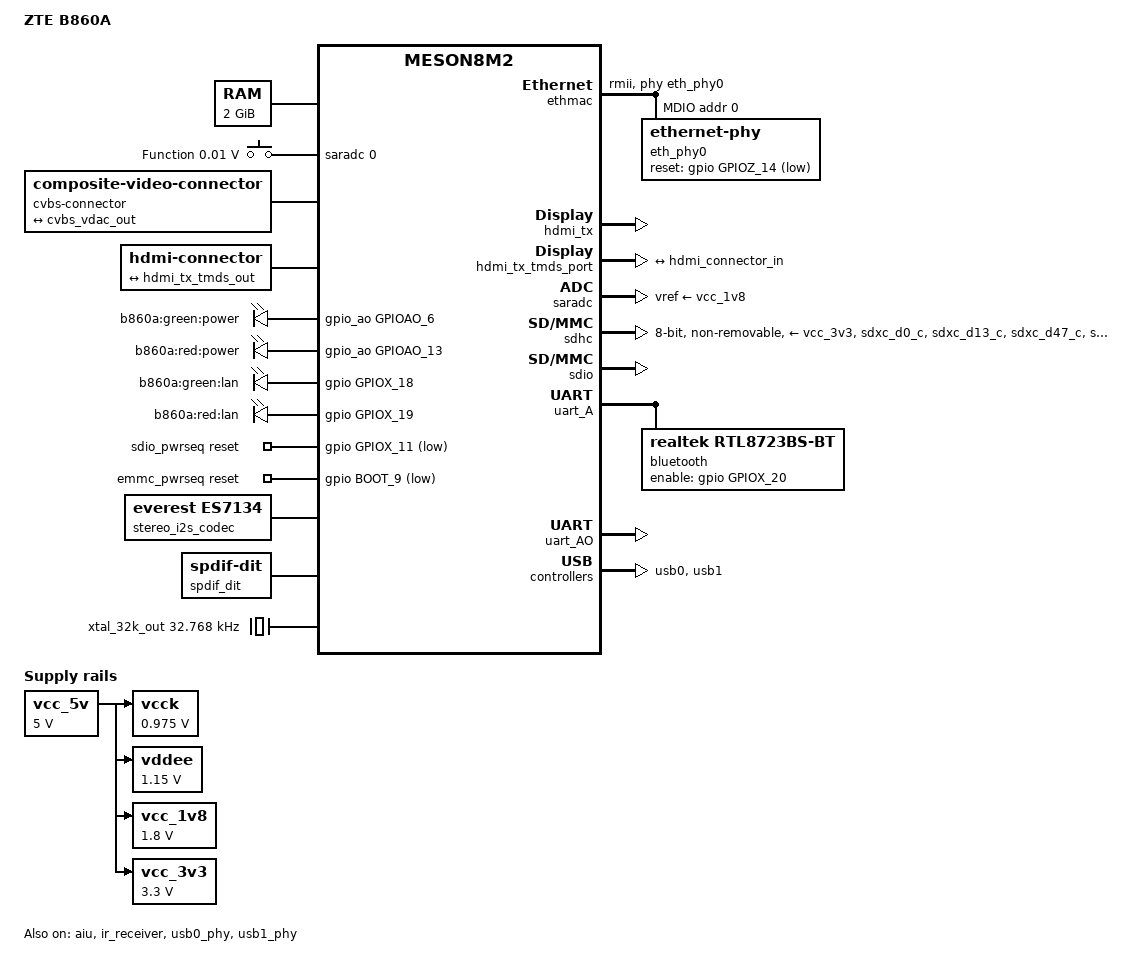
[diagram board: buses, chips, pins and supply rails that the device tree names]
/*
 * Copyright (c) 2026 Jamyu Li <jamyu@163.com>.
 *
 * SPDX-License-Identifier: (GPL-2.0+ OR MIT)
 */

/dts-v1/;

#include "meson8m2.dtsi"

#include <dt-bindings/gpio/gpio.h>
#include <dt-bindings/input/input.h>

/ {
	model = "ZTE B860A";
	compatible = "ZTE,B860A", "amlogic,meson8m2";

	aliases {
		ethernet0 = &ethmac;
		serial0 = &uart_AO;
		mmc0 = &sdio_sd_card_slot;
		mmc1 = &sdhc;
	};

	chosen {
		stdout-path = "serial0:115200n8";
	};

	memory@40000000 {
		device_type = "memory";
		reg = <0x40000000 0x80000000>;
	};

	adc-keys {
		compatible = "adc-keys";
		io-channels = <&saradc 0>;
		io-channel-names = "buttons";
		keyup-threshold-microvolt = <1710000>;

		button-function {
			label = "Function";
			linux,code = <KEY_FN>;
			press-threshold-microvolt = <10000>;
		};
	};

	cvbs-connector {
		compatible = "composite-video-connector";

		port {
			cvbs_connector_in: endpoint {
				remote-endpoint = <&cvbs_vdac_out>;
			};
		};
	};

	hdmi-connector {
		compatible = "hdmi-connector";
		type = "a";

		port {
			hdmi_connector_in: endpoint {
				remote-endpoint = <&hdmi_tx_tmds_out>;
			};
		};
	};

//	pwmleds {
//		compatible = "pwm-leds";
//
//		power {
//			label = "b860a:green:power";
//			pwms = <&pwm_ef 1 7812500 0>;
//			max-brightness = <255>;
//			active-low;
//			linux,default-trigger = "default-on";
//		};
//	};

	leds-power {
    		compatible = "gpio-leds";

    		/* 绿灯：进内核常亮，panic 时灭 */
    		power-green {
        		label = "b860a:green:power";
        		gpios = <&gpio_ao GPIOAO_6 GPIO_ACTIVE_HIGH>; /* pins_on=1 → ACTIVE_HIGH */
        		linux,default-trigger = "default-on";
        		linux,panic-indicator;/* panic 时自动写 0 → 绿灯灭 */
    		};
    		
    		/* 红灯：平时灭，panic 时亮 */
    		power-red {
    		label = "b860a:red:power";
    		gpios = <&gpio_ao GPIOAO_13 GPIO_ACTIVE_HIGH>; /* 高电平亮红 */
    		linux,default-trigger = "panic"; /* 仅 panic 时激活 */
    		};
	};
	
	leds-network {
    		compatible = "gpio-leds";
 			pinctrl-0 = <&lan_led_pins>;
			pinctrl-names = "default";

    		/* 绿灯 — 网络数据流 */
    		lan_data {
        		label = "b860a:green:lan";
        		gpios = <&gpio GPIOX_18 GPIO_ACTIVE_HIGH>;
        		linux,default-trigger = "netdev";
        		ledtrigu-sources = <&ethmac>;
        		// led-events = "link", "rx", "tx";
			};
  	  	
  	  	/* 红灯*/
    		lan-link {
        		label = "b860a:red:lan";
        		gpios = <&gpio GPIOX_19 GPIO_ACTIVE_HIGH>;
        		// linux,default-trigger = "default-on";
        		///* 默认不亮需要在userspace 写控制 */
           			
    		};
	};

	sdio_pwrseq: sdio-pwrseq {
		compatible = "mmc-pwrseq-simple";

		pinctrl-0 = <&xtal_32k_out_pins>;
		pinctrl-names = "default";

		reset-gpios = <&gpio GPIOX_11 GPIO_ACTIVE_LOW>; /* TODO: should be enable-gpios with GPIO_ACTIVE_HIGH in the card's node, this is WIFI_DISn */

		clocks = <&xtal_32k_out>;
		clock-names = "ext_clock";
	};

	emmc_pwrseq: emmc-pwrseq {
		compatible = "mmc-pwrseq-emmc";
		reset-gpios = <&gpio BOOT_9 GPIO_ACTIVE_LOW>;
	};

	sound {
		compatible = "amlogic,gx-sound-card";
		model = "ZTE-B860A";

		clocks = <&clkc CLKID_MPLL0>,
			 <&clkc CLKID_MPLL1>,
			 <&clkc CLKID_MPLL2>;

		assigned-clocks = <&clkc CLKID_MPLL0>,
				  <&clkc CLKID_MPLL1>,
				  <&clkc CLKID_MPLL2>;
		assigned-clock-rates = <294912000>,
				       <270950400>,
				       <393216000>;

		dai-link-0 {
			sound-dai = <&aiu AIU_CPU CPU_SPDIF_FIFO>;
		};

		dai-link-1 {
			sound-dai = <&aiu AIU_CPU CPU_I2S_FIFO>;
		};

		dai-link-2 {
			sound-dai = <&aiu AIU_CPU CPU_I2S_ENCODER>;
			dai-format = "i2s";
			mclk-fs = <256>;

			codec-0 {
				sound-dai = <&aiu AIU_HDMI CTRL_I2S>;
			};

			codec-1 {
				sound-dai = <&stereo_i2s_codec>;
			};
		};

		dai-link-3 {
			sound-dai = <&aiu AIU_HDMI CTRL_OUT>;

			codec-0 {
				sound-dai = <&hdmi_tx 0>;
			};
		};

		dai-link-4 {
			sound-dai = <&aiu AIU_CPU CPU_SPDIF_ENCODER>;

			codec-0 {
				sound-dai = <&spdif_dit>;
			};
		};
	};

	stereo_i2s_codec: i2s-audio-codec {
		compatible = "everest,es7134";
		#sound-dai-cells = <0>;
	};

	spdif_dit: spdif-audio-codec {
		#sound-dai-cells = <0>;
		compatible = "linux,spdif-dit";
		sound-name-prefix = "DIT";
	};

	vcck: regulator-vcck {
		compatible = "regulator-fixed";
		regulator-name = "VCCK";
		regulator-min-microvolt = <975000>;
		regulator-max-microvolt = <975000>;
		vin-supply = <&vcc_5v>;
	};

	vddee: regulator-vddee {
		compatible = "regulator-fixed";
		regulator-name = "VDD_EE";
		regulator-min-microvolt = <1150000>;
		regulator-max-microvolt = <1150000>;
		vin-supply = <&vcc_5v>;
	};

	vcc_1v8: regulator-vcc1v8 {
		compatible = "regulator-fixed";
		regulator-name = "VCC1V8";
		regulator-min-microvolt = <1800000>;
		regulator-max-microvolt = <1800000>;
		vin-supply = <&vcc_5v>;
	};

	vcc_3v3: regulator-vcc3v3 {
		compatible = "regulator-fixed";
		regulator-name = "VCC3V3";
		regulator-min-microvolt = <3300000>;
		regulator-max-microvolt = <3300000>;
		vin-supply = <&vcc_5v>;
	};

	vcc_5v: regulator-vcc5v {
		compatible = "regulator-fixed";
		regulator-name = "VCC5V";
		regulator-min-microvolt = <5000000>;
		regulator-max-microvolt = <5000000>;
	};

	xtal_32k_out: xtal-32k-out-clk {
		compatible = "fixed-clock";
		#clock-cells = <0>;
		clock-frequency = <32768>;
		clock-output-names = "xtal_32k_out";
	};
};

&aiu {
	status = "okay";

	pinctrl-0 = <&i2s_am_clk_pins>, <&i2s_out_ao_clk_pins>,
		    <&i2s_out_lr_clk_pins>, <&i2s_out_ch01_ao_pins>,
		    <&spdif_out_pins>;
	pinctrl-names = "default";
};

&cec_AO {
	// TODO: is this correct?
	clocks = <&xtal_32k_out>;
	clock-names = "core";

	pinctrl-0 = <&hdmi_cec_ao_pins>;
	pinctrl-names = "default";
};

&cpu0 {
	cpu-supply = <&vcck>;
};

&cvbs_vdac_port {
	cvbs_vdac_out: endpoint {
		remote-endpoint = <&cvbs_connector_in>;
	};
};

&pinctrl_cbus {
	sdxc_c_pins: sdxc-c {
		mux {
			groups = "sdxc_d0_c", "sdxc_d13_c",
				 "sdxc_d47_c", "sdxc_clk_c",
				 "sdxc_cmd_c";
			function = "sdxc_c";
			bias-pull-up;
		};
	};

	lan_led_pins: lan-led {
		mux {
			groups = "GPIOX_18", "GPIOX_19";
            		function = "gpio_periphs";
            		bias-disable;
            		// output-high;          /* 默认高 = 绿灯常亮，netdev 触发时闪 */
        	};
    	};
};

&ethmac {
	status = "okay";

	pinctrl-0 = <&eth_pins>;
	pinctrl-names = "default";

	phy-handle = <&eth_phy0>;
	phy-mode = "rmii";

	mdio {
		compatible = "snps,dwmac-mdio";
		#address-cells = <1>;
		#size-cells = <0>;

		eth_phy0: ethernet-phy@0 {
			/* Realtek RTL8201F (0x001cc816) */
			reg = <0>;

			reset-assert-us = <10000>;
			reset-deassert-us = <10000>;
			reset-gpios = <&gpio GPIOZ_14 GPIO_ACTIVE_LOW>;
		};
	};
};

&hdmi_tx {
	status = "okay";
	pinctrl-0 = <&hdmi_hpd_pins>, <&hdmi_i2c_pins>;
	pinctrl-names = "default";
};

&hdmi_tx_tmds_port {
	hdmi_tx_tmds_out: endpoint {
		remote-endpoint = <&hdmi_connector_in>;
	};
};

&ir_receiver {
	status = "okay";
	pinctrl-0 = <&ir_recv_pins>;
	pinctrl-names = "default";
};


&mali {
	mali-supply = <&vddee>;
};


&saradc {
	status = "okay";
	vref-supply = <&vcc_1v8>;
};

/* eMMC (与WiFi同资源，主线中无法共用）*/
&sdhc {
	status = "okay";

	pinctrl-0 = <&sdxc_c_pins>;
	pinctrl-names = "default";

	bus-width = <8>;
	max-frequency = <100000000>;

	cap-mmc-highspeed;
	//cap-sd-highspeed;
	mmc-hs200-1_8v;
	non-removable;
	no-sd;
	no-sdio;
	//disable-wp;

	mmc-pwrseq = <&emmc_pwrseq>;

	vmmc-supply = <&vcc_3v3>;
	vqmmc-supply = <&vcc_1v8>;
};

// &nand {
//    status = "disabled";   /* eMMC 版盒子必须关 */
// };

/* WiFi （与eMMC同资源，主线中无法共用）*/
// &sdhc {
//	status = "okay";
//
//	pinctrl-0 = <&sdxc_a_pins>;
//	pinctrl-names = "default";
//
//	bus-width = <4>;
//	max-frequency = <50000000>;
//
//	cap-mmc-highspeed;
//	cap-sd-highspeed;
//	non-removable;
//	disable-wp;
//
//	mmc-pwrseq = <&sdio_pwrseq>;

//	vmmc-supply = <&vcc_3v3>;
//	vqmmc-supply = <&vcc_3v3>;
// };

/* SD card */
&sdio {
	status = "okay";

	pinctrl-0 = <&sd_b_pins>;
	pinctrl-names = "default";

	sdio_sd_card_slot: slot@1 {
		compatible = "mmc-slot";
		reg = <1>;

		bus-width = <4>;
		max-frequency = <50000000>;

		/*no-mmc;*/
		no-sdio;
		cap-sd-highspeed;
		disable-wp;

		cd-gpios = <&gpio CARD_6 GPIO_ACTIVE_LOW>;

		vmmc-supply = <&vcc_3v3>;
	};
};

&uart_A {
	status = "okay";

	pinctrl-0 = <&uart_a1_pins>, <&uart_a1_cts_rts_pins>;
	pinctrl-names = "default";
	uart-has-rtscts;

	bluetooth {
		compatible = "realtek,rtl8723bs-bt";
		enable-gpios = <&gpio GPIOX_20 GPIO_ACTIVE_HIGH>;
	};
};

&uart_AO {
	status = "okay";
	pinctrl-0 = <&uart_ao_a_pins>;
	pinctrl-names = "default";
};

&usb0 {
	status = "okay";
};

&usb1 {
	status = "okay";
};

&usb0_phy {
	status = "okay";
};

&usb1_phy {
	status = "okay";
};
